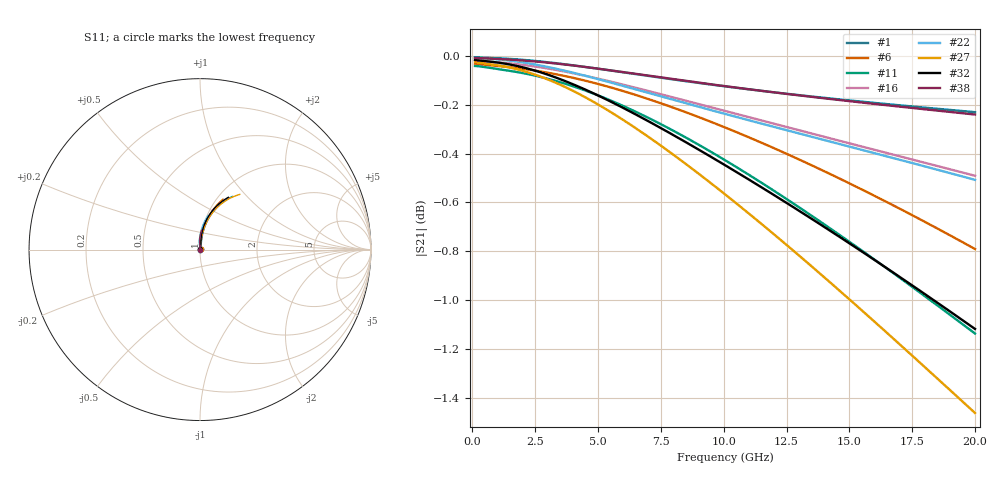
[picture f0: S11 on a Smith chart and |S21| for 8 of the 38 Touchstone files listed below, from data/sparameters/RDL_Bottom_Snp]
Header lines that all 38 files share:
! Touchstone file exported from HFSS 2024.1.0
!  Design:  RDL_bottom
!  Setup:  Setup1
!  Solution:  Sweep
! Variables:
# GHz S MA R 50.000000
! Terminal data exported
! Port[1] = RDL1_T1
! Port[2] = RDL1_T2
Fixed: dtsv = 10.80580581um, hbump = 3um, lrdl = 100um, p = 40, rhole = 1um, t = 450um, trdl = 3.915915916um, wrdl = 20um
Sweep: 100 MHz to 20 GHz
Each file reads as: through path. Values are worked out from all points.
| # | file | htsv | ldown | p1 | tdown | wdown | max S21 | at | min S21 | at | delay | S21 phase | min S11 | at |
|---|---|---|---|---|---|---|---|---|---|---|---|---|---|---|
| 1 | dut22.s2p | 76.22um | 155.51um | 43.99um | 4.39um | 27.71um | -0.01 dB | 100 MHz | -0.2 dB | 20 GHz | 1.48 ps | -6 deg at 10.1 GHz | -62.2 dB | 100 MHz |
| 2 | dut27.s2p | 88.69um | 408.7um | 59.17um | 3.54um | 18.42um | -0.02 dB | 100 MHz | -1.1 dB | 20 GHz | 4.68 ps | -19 deg at 10.1 GHz | -50.1 dB | 100 MHz |
| 3 | dut36.s2p | 71.65um | 473.25um | 44.09um | 4.73um | 27.46um | -0.01 dB | 100 MHz | -0.8 dB | 20 GHz | 4.02 ps | -16 deg at 10.1 GHz | -55.1 dB | 100 MHz |
| 4 | dut43.s2p | 99.99um | 340.3um | 41.39um | 4.16um | 14.76um | -0.02 dB | 100 MHz | -0.7 dB | 20 GHz | 3.54 ps | -14 deg at 10.1 GHz | -51.8 dB | 100 MHz |
| 5 | dut52.s2p | 84.81um | 672.4um | 51.37um | 2.71um | 29.22um | -0.03 dB | 100 MHz | -1.5 dB | 20 GHz | 6.19 ps | -25 deg at 10.1 GHz | -48.7 dB | 100 MHz |
| 6 | dut57.s2p | 54.13um | 319.23um | 45.65um | 2.16um | 14.56um | -0.03 dB | 100 MHz | -0.8 dB | 20 GHz | 3.74 ps | -14 deg at 10.1 GHz | -47.5 dB | 100 MHz |
| 7 | dut59.s2p | 82.52um | 591.18um | 52.35um | 2.17um | 27.14um | -0.03 dB | 100 MHz | -1.4 dB | 20 GHz | 5.76 ps | -23 deg at 10.1 GHz | -47.4 dB | 100 MHz |
| 8 | dut65.s2p | 79.46um | 361.05um | 54.36um | 3.33um | 22.51um | -0.02 dB | 100 MHz | -0.8 dB | 20 GHz | 3.91 ps | -15 deg at 10.1 GHz | -52.3 dB | 100 MHz |
| 9 | dut66.s2p | 85.46um | 649.74um | 52.64um | 3.2um | 16.27um | -0.04 dB | 100 MHz | -2.0 dB | 20 GHz | 6.74 ps | -28 deg at 10.1 GHz | -45.2 dB | 100 MHz |
| 10 | dut71.s2p | 71.48um | 528.7um | 46.05um | 2.13um | 21.75um | -0.04 dB | 100 MHz | -1.2 dB | 20 GHz | 5.24 ps | -21 deg at 10.1 GHz | -46.5 dB | 100 MHz |
| 11 | dut72.s2p | 91.67um | 482.19um | 41.29um | 2.28um | 16.56um | -0.04 dB | 100 MHz | -1.1 dB | 20 GHz | 4.93 ps | -19 deg at 10.1 GHz | -45.7 dB | 100 MHz |
| 12 | dut75.s2p | 98.44um | 132.03um | 49.82um | 4.37um | 15.18um | -0.01 dB | 100 MHz | -0.2 dB | 20 GHz | 1.76 ps | -7 deg at 10.1 GHz | -58.5 dB | 100 MHz |
| 13 | dut76.s2p | 78.01um | 383.08um | 53.76um | 2.51um | 17.83um | -0.03 dB | 100 MHz | -1.0 dB | 20 GHz | 4.42 ps | -17 deg at 10.1 GHz | -48.4 dB | 100 MHz |
| 14 | dut79.s2p | 98.12um | 641.09um | 44.05um | 4.38um | 18.41um | -0.03 dB | 100 MHz | -1.5 dB | 20 GHz | 6 ps | -24 deg at 10.1 GHz | -48.6 dB | 100 MHz |
| 15 | dut85.s2p | 99.83um | 494.12um | 51.16um | 2.62um | 23.58um | -0.03 dB | 100 MHz | -1.2 dB | 20 GHz | 5.02 ps | -20 deg at 10.1 GHz | -48.9 dB | 100 MHz |
| 16 | dut87.s2p | 56.43um | 284.2um | 42.12um | 2.49um | 23.2um | -0.02 dB | 100 MHz | -0.5 dB | 20 GHz | 2.79 ps | -11 deg at 10.1 GHz | -52.9 dB | 100 MHz |
| 17 | dut92.s2p | 64.12um | 573.62um | 57.56um | 2.03um | 29.08um | -0.03 dB | 100 MHz | -1.5 dB | 20 GHz | 5.7 ps | -23 deg at 10.1 GHz | -47.5 dB | 100 MHz |
| 18 | dut93.s2p | 70.19um | 514.16um | 53.39um | 2.65um | 10.26um | -0.06 dB | 100 MHz | -1.9 dB | 20 GHz | 6.06 ps | -25 deg at 10.1 GHz | -42.5 dB | 100 MHz |
| 19 | dut96.s2p | 68.5um | 310.21um | 43.5um | 3.56um | 21.69um | -0.01 dB | 100 MHz | -0.6 dB | 20 GHz | 3.05 ps | -12 deg at 10.1 GHz | -54.2 dB | 100 MHz |
| 20 | dut98.s2p | 84.47um | 223.91um | 58.69um | 2.76um | 24.26um | -0.01 dB | 100 MHz | -0.5 dB | 20 GHz | 2.74 ps | -11 deg at 10.1 GHz | -54.7 dB | 100 MHz |
| 21 | dut102.s2p | 93.51um | 698.57um | 40.32um | 4.1um | 22.03um | -0.03 dB | 100 MHz | -1.3 dB | 20 GHz | 6.04 ps | -24 deg at 10.1 GHz | -49.3 dB | 100 MHz |
| 22 | dut103.s2p | 73.98um | 262.97um | 55.22um | 4.95um | 25.44um | -0.01 dB | 100 MHz | -0.5 dB | 20 GHz | 2.77 ps | -11 deg at 10.1 GHz | -57.7 dB | 100 MHz |
| 23 | dut104.s2p | 53.27um | 577.59um | 44.32um | 3.43um | 26.31um | -0.02 dB | 100 MHz | -1.1 dB | 20 GHz | 5.04 ps | -20 deg at 10.1 GHz | -50.9 dB | 100 MHz |
| 24 | dut105.s2p | 82.45um | 156.34um | 40.81um | 2.08um | 26.16um | -0.01 dB | 100 MHz | -0.2 dB | 20 GHz | 1.58 ps | -6 deg at 10.1 GHz | -56.2 dB | 100 MHz |
| 25 | dut119.s2p | 55.53um | 367.87um | 45.51um | 4.3um | 12.97um | -0.02 dB | 100 MHz | -0.9 dB | 20 GHz | 4.01 ps | -16 deg at 10.1 GHz | -50.3 dB | 100 MHz |
| 26 | dut126.s2p | 92.5um | 126.58um | 58.38um | 4um | 20.83um | -0.01 dB | 100 MHz | -0.3 dB | 20 GHz | 1.77 ps | -7 deg at 10.1 GHz | -59.4 dB | 100 MHz |
| 27 | dut138.s2p | 79.21um | 588.07um | 47.86um | 4.06um | 18.36um | -0.03 dB | 100 MHz | -1.5 dB | 20 GHz | 5.78 ps | -23 deg at 10.1 GHz | -48.6 dB | 100 MHz |
| 28 | dut144.s2p | 53.62um | 516.69um | 42.94um | 3.57um | 15.31um | -0.03 dB | 100 MHz | -1.3 dB | 20 GHz | 5.17 ps | -21 deg at 10.1 GHz | -47.7 dB | 100 MHz |
| 29 | dut148.s2p | 56.86um | 621.5um | 43.53um | 4.56um | 15.69um | -0.03 dB | 100 MHz | -1.5 dB | 20 GHz | 5.93 ps | -24 deg at 10.1 GHz | -47.9 dB | 100 MHz |
| 30 | dut162.s2p | 56.14um | 315.38um | 44.5um | 3.1um | 17.57um | -0.02 dB | 100 MHz | -0.6 dB | 20 GHz | 3.37 ps | -13 deg at 10.1 GHz | -51.5 dB | 100 MHz |
| 31 | dut164.s2p | 94.29um | 162.33um | 59.1um | 4.27um | 15.96um | -0.01 dB | 100 MHz | -0.4 dB | 20 GHz | 2.27 ps | -9 deg at 10.1 GHz | -56.7 dB | 100 MHz |
| 32 | dut168.s2p | 75.31um | 458.76um | 54.25um | 4.39um | 20.61um | -0.02 dB | 100 MHz | -1.1 dB | 20 GHz | 4.76 ps | -19 deg at 10.1 GHz | -51.4 dB | 100 MHz |
| 33 | dut169.s2p | 56.35um | 413.61um | 45.91um | 3.49um | 26.67um | -0.02 dB | 100 MHz | -0.8 dB | 20 GHz | 3.77 ps | -15 deg at 10.1 GHz | -53.5 dB | 100 MHz |
| 34 | dut170.s2p | 66.87um | 336.67um | 52.57um | 2.89um | 17.04um | -0.02 dB | 100 MHz | -0.9 dB | 20 GHz | 3.92 ps | -15 deg at 10.1 GHz | -50.0 dB | 100 MHz |
| 35 | dut172.s2p | 96.53um | 230.54um | 50.06um | 4.04um | 21.94um | -0.01 dB | 100 MHz | -0.4 dB | 20 GHz | 2.53 ps | -10 deg at 10.1 GHz | -56.7 dB | 100 MHz |
| 36 | dut183.s2p | 86.74um | 499.79um | 53.22um | 2.29um | 20.76um | -0.03 dB | 100 MHz | -1.4 dB | 20 GHz | 5.35 ps | -21 deg at 10.1 GHz | -46.9 dB | 100 MHz |
| 37 | dut189.s2p | 62.81um | 204.89um | 55.94um | 2.21um | 27.74um | -0.01 dB | 100 MHz | -0.4 dB | 20 GHz | 2.4 ps | -9 deg at 10.1 GHz | -54.8 dB | 100 MHz |
| 38 | dut198.s2p | 97.8um | 141.67um | 48.65um | 2.83um | 28.5um | -0.01 dB | 100 MHz | -0.2 dB | 20 GHz | 1.56 ps | -6 deg at 10.1 GHz | -59.3 dB | 100 MHz |
